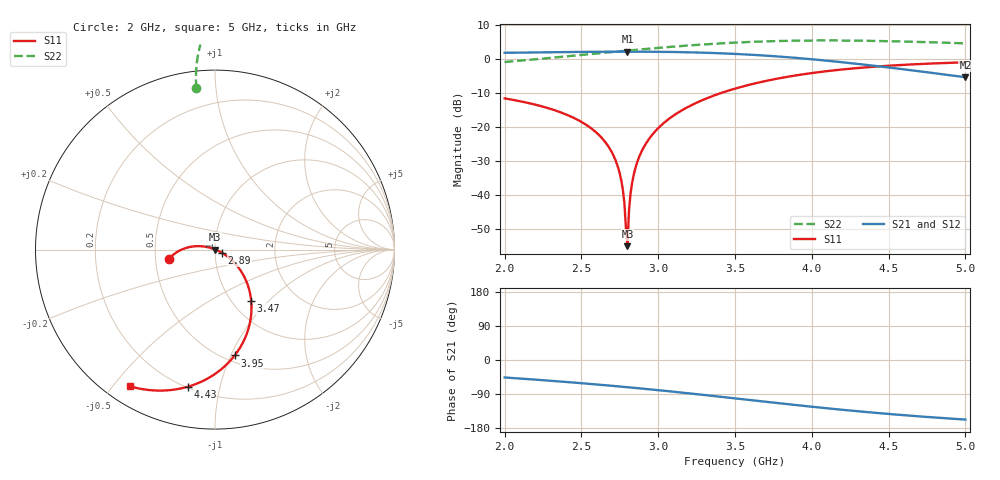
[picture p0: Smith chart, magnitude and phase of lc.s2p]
! Touchstone file exported from HFSS 2025.2.4
!  File:  C:/Users/hdung/OneDrive/Documents/261_KTSCT_L04_Nhom08/HFSS/Matching_EM3D_3p5GHz.aedt
!  Generated:  10:42:47 PM Nov 25, 2026
!  Design:  lc
!  Project:  Matching_EM3D_3p5GHz
!Data is not renormalized
# GHz S MA
! Terminal data exported
! Port[1] = P1
! Port[2] = P2
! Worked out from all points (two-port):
!   301 points, 2 GHz to 5 GHz, reference per port
!   highest |S21| = 2.19 dB at 2.8 GHz (marker M1); lowest = -5.3 dB at 5 GHz (marker M2)
!   |S21| within 3 dB of the highest: start of sweep to 4.173 GHz
!   lowest |S11| = -55.2 dB at 2.8 GHz (marker M3), VSWR 1.00
!   |S11| at or under -10 dB: start of sweep to 3.409 GHz
!   |S22| runs from -0.9 to 5.5 dB; largest |S21 - S12| = 1.8e-14
!   S11 on the Smith chart (normalised r, x): 2 GHz: 0.59, -0.07; 2.89 GHz: 1.08, -0.04; 3.47 GHz: 1.22, -0.80; 3.95 GHz: 0.56, -1.03; 4.43 GHz: 0.21, -0.80; 5 GHz: 0.07, -0.56
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2  0.2636 -168.3  1.239 -46.1  1.239 -46.1  0.905 96.6
2.29  0.1872 -179.8  1.262 -54.5  1.262 -54.5  1.038 95.6
2.5  0.1186 171.2  1.277 -61.2  1.277 -61.2  1.151 94.0
2.64  0.06595 164.7  1.284 -66.0  1.284 -66.0  1.234 92.3
2.73  0.02902 159.5  1.286 -69.2  1.286 -69.2  1.29 91.0
2.77  0.01185 154.7  1.287 -70.7  1.287 -70.7  1.315 90.4
2.78  0.007503 151.3  1.287 -71.1  1.287 -71.1  1.321 90.2
2.79  0.003201 139.9  1.287 -71.4  1.287 -71.4  1.328 90.1
2.8  0.001747 14.9  1.287 -71.8  1.287 -71.8  1.334 89.9
2.81  0.005958 -12.0  1.287 -72.2  1.287 -72.2  1.34 89.7
2.83  0.01491 -19.0  1.287 -72.9  1.287 -72.9  1.353 89.4
2.86  0.02863 -22.3  1.286 -74.1  1.286 -74.1  1.373 88.8
2.89  0.04262 -24.4  1.286 -75.3  1.286 -75.3  1.392 88.3
3  0.09602 -30.5  1.281 -79.6  1.281 -79.6  1.463 86.0
3.19  0.195 -40.2  1.261 -87.5  1.261 -87.5  1.582 81.5
3.47  0.3501 -54.8  1.202 -99.9  1.202 -99.9  1.735 73.7
3.5  0.3668 -56.4  1.193 -101.2  1.193 -101.2  1.749 72.8
3.95  0.6001 -79.5  1.018 -121.2  1.018 -121.2  1.875 58.9
4  0.6226 -81.9  0.9946 -123.3  0.9946 -123.3  1.88 57.4
4.43  0.7791 -101.2  0.7855 -140.0  0.7855 -140.0  1.849 45.3
4.5  0.7984 -104.1  0.7523 -142.4  0.7523 -142.4  1.836 43.6
5  0.8961 -121.7  0.5402 -157.2  0.5402 -157.2  1.706 33.0
